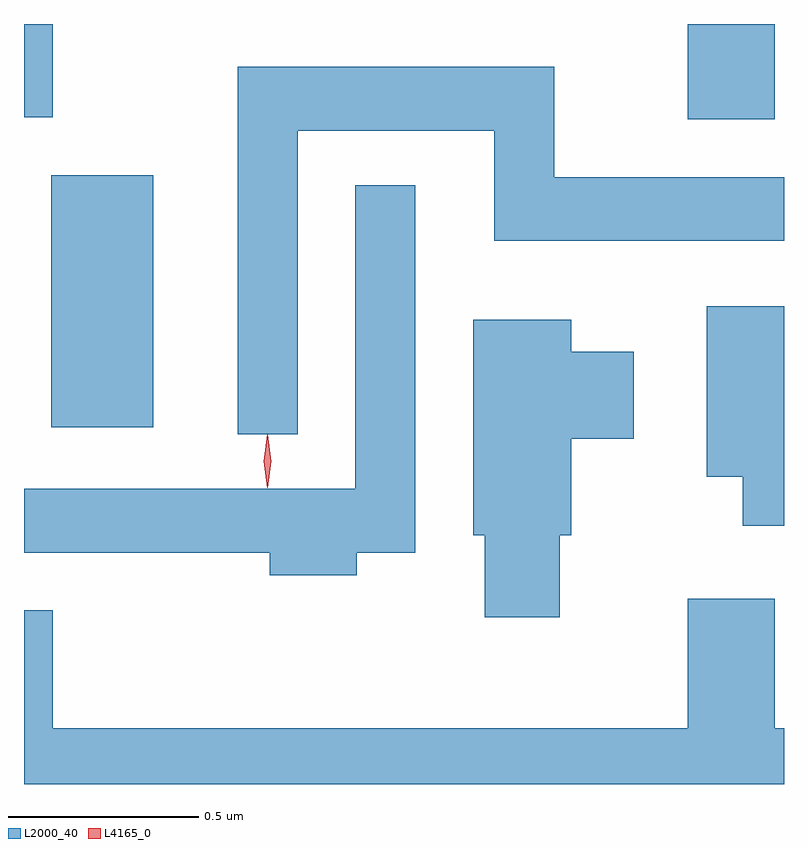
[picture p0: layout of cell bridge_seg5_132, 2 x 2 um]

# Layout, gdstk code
import gdstk
lib = gdstk.Library(unit=1e-6, precision=1e-09)
def R(c, l, rs):  # rectangles x0, y0, x1, y1
    for r in rs: c.add(gdstk.rectangle(r[:2], r[2:], *l))
def P(c, l, *ps):  # polygons
    for p in ps: c.add(gdstk.Polygon(p, *l))
L2000_40 = (2000, 40)
L4165_0 = (4165, 0)

bridge_seg5_132 = lib.new_cell('bridge_seg5_132')
R(bridge_seg5_132, L2000_40, [(1216.856,1420.116,1217.124,1420.779), (1218.531,1420.926,1218.759,1421.177), (1216.784,1420.931,1216.859,1421.177)])
P(bridge_seg5_132, L2000_40, [(1217.504,1420.896),(1218.021,1420.896),(1218.021,1420.606),(1218.784,1420.606),(1218.784,1420.774),(1218.179,1420.774),(1218.179,1421.064),(1217.346,1421.064),(1217.346,1420.098),(1217.504,1420.098)],
  [(1217.659,1419.786),(1217.814,1419.786),(1217.814,1420.753),(1217.656,1420.753),(1217.656,1419.954),(1216.784,1419.954),(1216.784,1419.786),(1217.431,1419.786),(1217.431,1419.726),(1217.659,1419.726)],
  [(1218.784,1420.434),(1218.581,1420.434),(1218.581,1419.986),(1218.676,1419.986),(1218.676,1419.856),(1218.784,1419.856)],
  [(1218.194,1419.831),(1218.224,1419.831),(1218.224,1420.086),(1218.389,1420.086),(1218.389,1420.314),(1218.224,1420.314),(1218.224,1420.399),(1217.966,1420.399),(1217.966,1419.831),(1217.996,1419.831),(1217.996,1419.616),(1218.194,1419.616)],
  [(1218.784,1419.324),(1218.759,1419.324),(1218.759,1419.664),(1218.531,1419.664),(1218.531,1419.324),(1216.859,1419.324),(1216.859,1419.634),(1216.784,1419.634),(1216.784,1419.177),(1218.784,1419.177)])
P(bridge_seg5_132, L4165_0, [(1217.425,1419.959),(1217.424,1419.96),(1217.415,1420.026),(1217.424,1420.092),(1217.425,1420.093),(1217.425,1420.092),(1217.435,1420.026),(1217.425,1419.96)],
  [(1217.424,1419.957),(1217.415,1420.026),(1217.424,1420.096),(1217.425,1420.096),(1217.426,1420.096),(1217.435,1420.026),(1217.426,1419.957),(1217.425,1419.957)])

lib.write_gds('bridge_seg5_132.gds')
